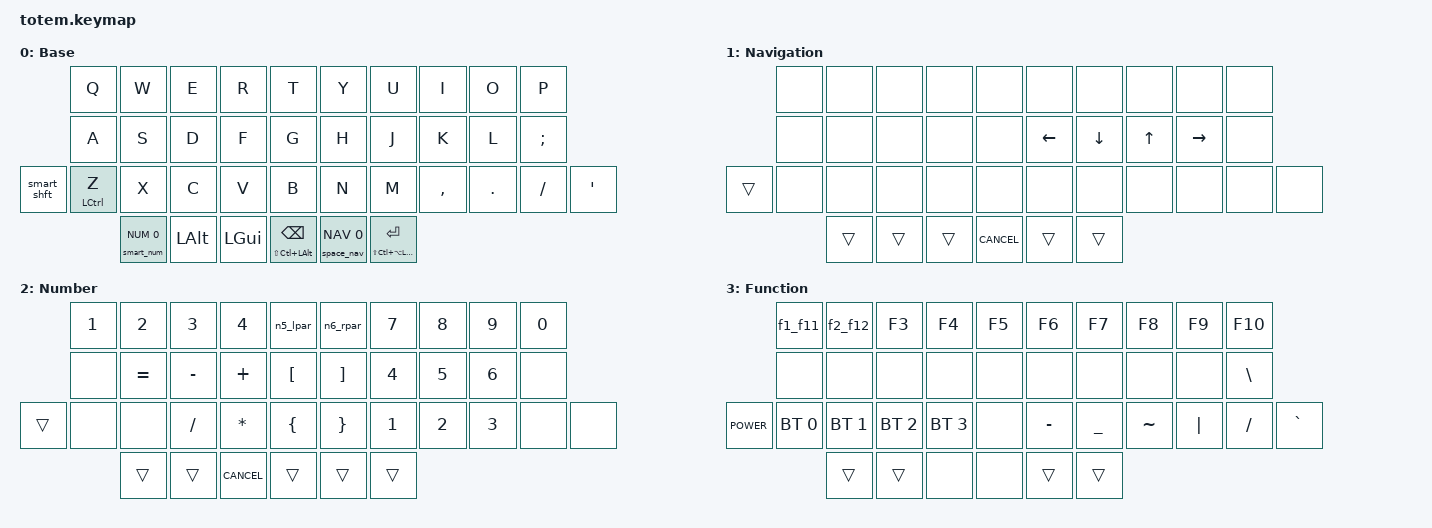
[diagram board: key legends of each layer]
//
//                                                        ▀▀▀▀▀     ▀▀▀▀▀          ▀▀█▀▀
//                                                        ▄▀▀▀▄  ▄  ▄▀▀▀▄  ▄  ▄▀▀▀▄  █  ▄▀▀▀▄
//                                                        █   █  █  █   █  █  █   █  █  █   █
//                                                         ▀▀▀   █   ▀▀▀   █   ▀▀▀   ▀   ▀▀▀
//                                                               █      ▄▄▄█▄▄▄    █   █
//                                                               ▀      █  █  █     █▄█
//                                                             ▀▀▀▀▀    █  █  █      ▀
//                                                                      ▀  ▀  ▀
//
// ▄▄▄▄▄▄▄▄▄▄▄▄▄▄▄▄▄▄▄▄▄▄▄▄▄▄▄▄▄▄▄▄▄▄▄▄▄▄▄▄▄▄▄▄▄▄▄▄▄▄▄▄▄▄▄▄▄▄▄▄▄▄▄▄▄▄▄▄▄▄▄▄▄▄▄▄▄▄▄▄▄▄▄▄▄▄▄▄▄▄▄▄▄▄▄▄▄▄▄▄▄▄▄▄▄▄▄▄▄▄▄▄▄▄▄▄▄▄▄▄▄▄▄▄▄▄▄▄▄▄▄▄▄▄▄▄▄▄▄▄▄▄▄▄▄▄▄▄▄

#include <behaviors.dtsi>
#include <dt-bindings/zmk/bt.h>
#include <dt-bindings/zmk/keys.h>

#include <behaviors/num_word.dtsi>

#include "zmk-helpers/helper.h"
#include "zmk-helpers/key-labels/totem.h"

#define BASE        0
#define NAV         1
#define NUM         2
#define FUN         3

#define KEYS_L LT0 LT1 LT2 LT3 LT4 LM0 LM1 LM2 LM3 LM4 LB0 LB1 LB2 LB3 LB4  // left hand
#define KEYS_R RT0 RT1 RT2 RT3 RT4 RM0 RM1 RM2 RM3 RM4 RB0 RB1 RB2 RB3 RB4  // right hand
#define THUMBS LH2 LH1 LH0 RH0 RH1 RH2                                      // thumbs

#define CANCEL      &kp K_CANCEL // Cancel caps-word & auto-layers.

#define HYP LS(LC(LA(LGUI)))
#define MEH LS(LC(LALT))

#define QUICK_TAP_MS 175

// Tap: sticky-shift | Shift + tap/ double-tap: caps-word | Hold: shift.
ZMK_MOD_MORPH(smart_shft,
  bindings = <&sk LSHFT>, <&caps_word>;
  mods = <(MOD_LSFT)>;
)

// Tap: num-word | double-tap: sticky num-layer | Hold: num-layer.
#define SMART_NUM &smart_num NUM 0
ZMK_HOLD_TAP(smart_num, bindings = <&mo>, <&num_dance>; flavor = "balanced";
             tapping-term-ms = <200>; quick-tap-ms = <QUICK_TAP_MS>;)
ZMK_TAP_DANCE(num_dance, bindings = <&num_word NUM>, <&sl NUM>;
              tapping-term-ms = <200>;)

// Tap: space | double-tap: nav-word | Hold: nav-layer.
#define SPACE_NAV &space_nav NAV 0
ZMK_HOLD_TAP(space_nav, bindings = <&mo>, <&nav_dance>; flavor = "balanced";
             tapping-term-ms = <200>; quick-tap-ms = <QUICK_TAP_MS>;)
ZMK_TAP_DANCE(nav_dance, bindings = <&kp SPACE>, <&nav_word NAV>;
              tapping-term-ms = <200>;)

// Home row mods
#define MAKE_HRM(NAME, HOLD, TAP, TRIGGER_POS)                                 \
  ZMK_HOLD_TAP(NAME, bindings = <HOLD>, <TAP>; flavor = "balanced";            \
               tapping-term-ms = <280>; quick-tap-ms = <QUICK_TAP_MS>;         \
               require-prior-idle-ms = <150>; hold-trigger-on-release;         \
               hold-trigger-key-positions = <TRIGGER_POS>;)

MAKE_HRM(hml, &kp, &kp, KEYS_R THUMBS) // Left-hand HRMs.
MAKE_HRM(hmr, &kp, &kp, KEYS_L THUMBS) // Right-hand HRMs.

// Double tap keys
ZMK_TAP_DANCE(n5_lpar, bindings = <&kp N5>, <&kp LPAR>;
              tapping-term-ms = <200>;)

ZMK_TAP_DANCE(n6_rpar, bindings = <&kp N6>, <&kp RPAR>;
              tapping-term-ms = <200>;)

ZMK_TAP_DANCE(f1_f11, bindings = <&kp F1>, <&kp F11>;
              tapping-term-ms = <200>;)

ZMK_TAP_DANCE(f2_f12, bindings = <&kp F2>, <&kp F12>;
              tapping-term-ms = <200>;)

/ {
    behaviors {
        nav_word: nav_word {
            compatible = "zmk,behavior-auto-layer";
            #binding-cells = <1>;
            continue-list = <LEFT DOWN UP RIGHT PG_DN PG_UP>;
            ignore-modifiers;
        };
    };

    combos {
        compatible = "zmk,combos";

        Copy {
            bindings = <&kp LG(C)>;
            key-positions = <LB3 LB2>;
            layers = <BASE>;
        };

        Paste {
            bindings = <&kp LG(V)>;
            key-positions = <LB2 LB1>;
            layers = <BASE>;
        };
        
        Cut {
            bindings = <&kp LG(X)>;
            key-positions = <LB3 LB1>;
            layers = <BASE>;
        };

        Escape {
            bindings = <&kp ESC>;
            key-positions = <LM2 LM1>;
            layers = <BASE>;
        };

        Tab {
            bindings = <&kp TAB>;
            key-positions = <LM3 LM2>;
            layers = <BASE>;
        };
        
        ShiftTab {
            bindings = <&kp LS(TAB)>;
            key-positions = <LM4 LM3>;
            layers = <BASE>;
        };
        
        Enter {
            bindings = <&kp RET>;
            key-positions = <RM1 RM2>;
            layers = <BASE>;
        };

        Backspace {
            bindings = <&kp BSPC>;
            key-positions = <RM2 RM3>;
            layers = <BASE>;
        };

        Delete {
            bindings = <&kp DEL>;
            key-positions = <RM3 RM4>;
            layers = <BASE>;
        };

        PageUp {
            bindings = <&kp PG_UP>;
            key-positions = <RT1 RM1>;
            layers = <NAV>;
        };

        PageDown {
            bindings = <&kp PG_DN>;
            key-positions = <RM1 RB1>;
            layers = <NAV>;
        };

        BtClear {
            bindings = <&bt BT_CLR>;
            key-positions = <LM0 RM0>;
            layers = <FUN>;
        };
        
        BtClearAll {
            bindings = <&bt BT_CLR_ALL>;
            key-positions = <LT0 RT0>;
            layers = <FUN>;
        };
    };

    keymap {
        compatible = "zmk,keymap";

        Base {
            bindings = <
              &kp Q         &kp W      &kp E     &kp R       &kp T          &kp Y       &kp U         &kp I      &kp O    &kp P
              &kp A         &kp S      &kp D     &kp F       &kp G          &kp H       &kp J         &kp K      &kp L    &kp SEMICOLON
&smart_shft   &hml LCTRL Z  &kp X      &kp C     &kp V       &kp B          &kp N       &kp M         &kp COMMA  &kp DOT  &kp SLASH      &kp SQT
                            SMART_NUM  &kp LALT  &kp LGUI    &hmr MEH BSPC  SPACE_NAV   &hmr HYP RET
            >;
        };

        Navigation {
            bindings = <
        &none  &none  &none   &none   &none     &none     &none     &none   &none      &none
        &none  &none  &none   &none   &none     &kp LEFT  &kp DOWN  &kp UP  &kp RIGHT  &none
&trans  &none  &none  &none   &none   &none     &none     &none     &none   &none      &none  &none
                      &trans  &trans  &trans    CANCEL    &trans    &trans
            >;
        };

        Number {
            bindings = <
        &kp N1  &kp N2     &kp N3     &kp N4    &n5_lpar     &n6_rpar    &kp N7  &kp N8  &kp N9  &kp N0
        &none   &kp EQUAL  &kp MINUS  &kp PLUS  &kp LBKT    &kp RBKT  &kp N4  &kp N5  &kp N6  &none
&trans  &none   &none      &kp SLASH  &kp STAR  &kp LBRC    &kp RBRC  &kp N1  &kp N2  &kp N3  &none  &none
                           &trans     &trans    CANCEL      &trans    &trans  &trans
            >;
        };

        Function {
            bindings = <
             &f1_f11       &f2_f12       &kp F3        &kp F4        &kp F5    &kp F6     &kp F7          &kp F8     &kp F9    &kp F10
             &none         &none         &none         &none         &none     &none      &none           &none      &none     &kp BSLH
&kp K_POWER  &bt BT_SEL 0  &bt BT_SEL 1  &bt BT_SEL 2  &bt BT_SEL 3  &none     &kp MINUS  &kp UNDERSCORE  &kp TILDE  &kp PIPE  &kp SLASH  &kp GRAVE
                                        &trans         &trans        &none     &none      &trans          &trans
            >;
        };
    };

    conditional_layers {
        compatible = "zmk,conditional-layers";

        FunctionLayer {
            if-layers = <NAV NUM>;
            then-layer = <FUN>;
        };
    };
};
